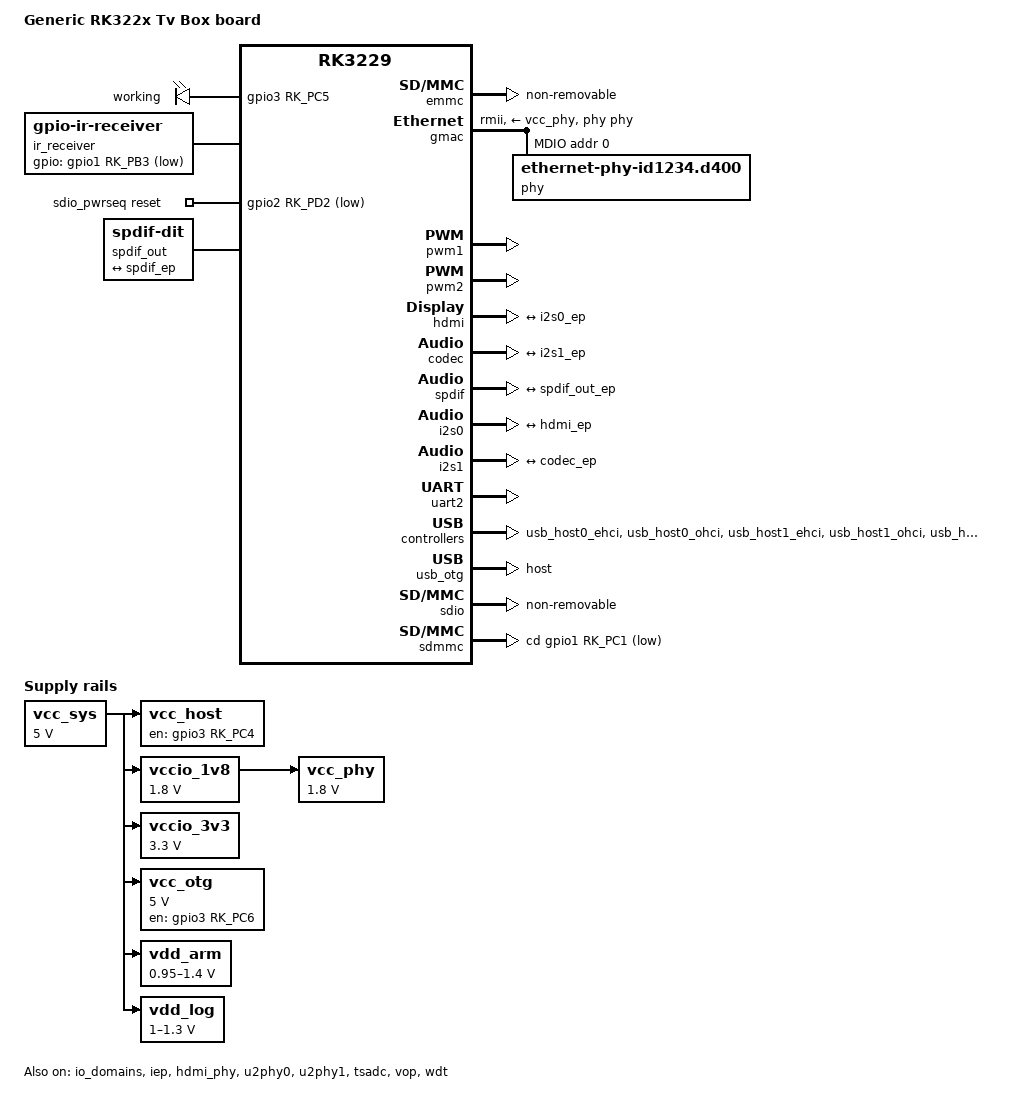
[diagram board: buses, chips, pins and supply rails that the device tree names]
// SPDX-License-Identifier: (GPL-2.0+ OR MIT)

/dts-v1/;

#include <dt-bindings/gpio/gpio.h>
#include <dt-bindings/pinctrl/rockchip.h>
#include <dt-bindings/pwm/pwm.h>
#include "rk322x.dtsi"

/ {

	model = "Generic RK322x Tv Box board";
	compatible = "rockchip,rk3229";

	/*
	 * No need to reserve memory manually as long as u-boot v2020.10 and
	 * OPTEE autoconfigure the reserved zones
	*/
	/delete-node/ reserved-memory;

	/*
	 * We rebuild the cpu-opp-table by ourselves
	 */
	/delete-node/ opp-table-0;

	/*
	 * Rebuild the thermal zones and cooling maps ourselves
	 */
	/delete-node/ thermal-zones;

	/*
	 * 	Include the mmc devices into aliases table
	 */
	aliases {
		mmc0 = &sdmmc;
		mmc1 = &sdio;
		mmc2 = &emmc;
	};

	chosen {
		bootargs = "earlyprintk=uart8250,mmio32,0x11030000";
	};

	cpu0_opp_table: opp-table-0 {
		compatible = "operating-points-v2";
		opp-shared;

		opp-600000000 {
			opp-hz = /bits/ 64 <600000000>;
			opp-microvolt = <975000>;
			clock-latency-ns = <40000>;
			opp-suspend;
		};

		opp-816000000 {
			opp-hz = /bits/ 64 <816000000>;
			opp-microvolt = <1000000>;
		};

		opp-1008000000 {
			opp-hz = /bits/ 64 <1008000000>;
			opp-microvolt = <1175000>;
		};

		opp-1200000000 {
			opp-hz = /bits/ 64 <1200000000>;
			opp-microvolt = <1275000>;
		};

	};

	gpio_leds: gpio-leds {

		compatible = "gpio-leds";

		/*
		* Working led, available on all boards
		*/
		working {
			gpios = <&gpio3 RK_PC5 GPIO_ACTIVE_HIGH>;
			label = "working";
			default-state = "on";
			linux,default-trigger = "timer";
			pinctrl-names = "default";
			pinctrl-0 = <&gpio_led_working>;
		};

	};

	gpio_keys: gpio-keys {

		compatible = "gpio-keys";

		#address-cells = <1>;
		#size-cells = <0>;

	};

	ir_receiver: ir-receiver {
		compatible = "gpio-ir-receiver";
		gpios = <&gpio1 RK_PB3 GPIO_ACTIVE_LOW>;
		pinctrl-0 = <&ir_int>;
		pinctrl-names = "default";
		status = "okay";
		linux,rc-map-name = "rc-rk322x-tvbox";
	};

	rockchip_ir_receiver: rockchip-ir-receiver {
		compatible = "rockchip-ir-receiver";
		reg = <0x110b0030 0x10>;
		gpios = <&gpio1 RK_PB3 GPIO_ACTIVE_LOW>;
		clocks = <&cru PCLK_PWM>;
		interrupts = <GIC_SPI 50 IRQ_TYPE_LEVEL_HIGH>;
		linux,rc-map-name = "rc-rk322x-tvbox";
		pinctrl-names = "default", "suspend";
		pinctrl-0 = <&ir_int>;
		pinctrl-1 = <&pwm3_pin>;
		pwm-id = <3>;
		shutdown-is-virtual-poweroff;
		wakeup-source;
		status = "disabled";
	};

	sdio_pwrseq: sdio-pwrseq {
		compatible = "mmc-pwrseq-simple";
		pinctrl-names = "default";
		pinctrl-0 = <&wifi_enable_h>;
		reset-gpios = <&gpio2 RK_PD2 GPIO_ACTIVE_LOW>;
	};

	vcc_sys: vcc-sys-regulator {
		compatible = "regulator-fixed";
		regulator-name = "vcc_sys";
		regulator-always-on;
		regulator-boot-on;
		regulator-min-microvolt = <5000000>;
		regulator-max-microvolt = <5000000>;
	};

	vcc_host: vcc-host-regulator {
		compatible = "regulator-fixed";
		enable-active-high;
		gpio = <&gpio3 RK_PC4 GPIO_ACTIVE_HIGH>;
		pinctrl-names = "default";
		pinctrl-0 = <&host_vbus_drv>;
		regulator-name = "vcc_host";
		regulator-always-on;
		regulator-boot-on;
		vin-supply = <&vcc_sys>;
	};

	vccio_1v8: vccio-1v8-regulator {
		compatible = "regulator-fixed";
		regulator-name = "vccio_1v8";
		regulator-min-microvolt = <1800000>;
		regulator-max-microvolt = <1800000>;
		regulator-always-on;
		vin-supply = <&vcc_sys>;
	};

	vccio_3v3: vccio-3v3-regulator {
		compatible = "regulator-fixed";
		regulator-name = "vccio_3v3";
		regulator-min-microvolt = <3300000>;
		regulator-max-microvolt = <3300000>;
		regulator-always-on;
		vin-supply = <&vcc_sys>;
	};

	vcc_otg: vcc-otg-regulator {
		compatible = "regulator-fixed";
		enable-active-high;
		gpio = <&gpio3 RK_PC6 GPIO_ACTIVE_HIGH>;
		pinctrl-names = "default";
		pinctrl-0 = <&otg_vbus_drv>;
		regulator-name = "vcc_otg_vbus";
		regulator-min-microvolt = <5000000>;
		regulator-max-microvolt = <5000000>;
		regulator-always-on;
		regulator-boot-on;
		vin-supply = <&vcc_sys>;
	};

	vcc_phy: vcc-phy-regulator {
		compatible = "regulator-fixed";
		enable-active-high;
		regulator-name = "vcc_phy";
		regulator-min-microvolt = <1800000>;
		regulator-max-microvolt = <1800000>;
		regulator-always-on;
		regulator-boot-on;
		vin-supply = <&vccio_1v8>;
	};

	vdd_arm: vdd-arm-regulator {
		compatible = "pwm-regulator";
		pwms = <&pwm1 0 5000 PWM_POLARITY_INVERTED>;
		pwm-supply = <&vcc_sys>;
		regulator-name = "vdd_arm";
		regulator-min-microvolt = <950000>;
		regulator-max-microvolt = <1400000>;
		regulator-always-on;
		regulator-boot-on;
	};

	vdd_log: vdd-log-regulator {
		compatible = "pwm-regulator";
		pwms = <&pwm2 0 5000 PWM_POLARITY_INVERTED>;
		pwm-supply = <&vcc_sys>;
		regulator-name = "vdd_log";
		regulator-min-microvolt = <1000000>;
		regulator-max-microvolt = <1300000>;
		regulator-always-on;
		regulator-boot-on;
	};

	thermal-zones {
		cpu_thermal: cpu-thermal {
			polling-delay-passive = <1000>; /* milliseconds */
			polling-delay = <5000>; /* milliseconds */

			thermal-sensors = <&tsadc 0>;

			trips {
				cpu_alert0: cpu_alert0 {
					temperature = <90000>; /* millicelsius */
					hysteresis = <2000>; /* millicelsius */
					type = "passive";
				};
				cpu_alert1: cpu_alert1 {
					temperature = <95000>; /* millicelsius */
					hysteresis = <2000>; /* millicelsius */
					type = "passive";
				};
				cpu_crit: cpu_crit {
					temperature = <105000>; /* millicelsius */
					hysteresis = <2000>; /* millicelsius */
					type = "critical";
				};
			};

			cooling-maps {

				cpu_throttle_low: map-cpu-throttle-low {
					trip = <&cpu_alert0>;
					cooling-device =
						<&cpu0 THERMAL_NO_LIMIT 1>,
						<&cpu1 THERMAL_NO_LIMIT 1>,
						<&cpu2 THERMAL_NO_LIMIT 1>,
						<&cpu3 THERMAL_NO_LIMIT 1>;
				};

				cpu_throttle_high: map-cpu-throttle-high {
					trip = <&cpu_alert1>;
					cooling-device =
						<&cpu0 THERMAL_NO_LIMIT THERMAL_NO_LIMIT>,
						<&cpu1 THERMAL_NO_LIMIT THERMAL_NO_LIMIT>,
						<&cpu2 THERMAL_NO_LIMIT THERMAL_NO_LIMIT>,
						<&cpu3 THERMAL_NO_LIMIT THERMAL_NO_LIMIT>;
				};

				gpu_throttle_low: map-gpu-throttle-low {
					trip = <&cpu_alert0>;
					cooling-device =
						<&gpu THERMAL_NO_LIMIT 1>;
				};

				gpu_throttle_high: map-gpu-throttle-high {
					trip = <&cpu_alert1>;
					cooling-device =
						<&gpu THERMAL_NO_LIMIT THERMAL_NO_LIMIT>;
				};

				dmc_throttle_low: map-dmc-throttle-low {
					trip = <&cpu_alert0>;
					cooling-device = <&dmc THERMAL_NO_LIMIT 1>;
				};

				dmc_throttle_high: map-dmc-throttle-high {
					trip = <&cpu_alert1>;
					cooling-device = <&dmc THERMAL_NO_LIMIT THERMAL_NO_LIMIT>;
				};

			};
		};
	};

	hdmi-sound {
		compatible = "audio-graph-card2";
		label = "HDMI";
		links = <&i2s0_port>;
	};

	analog-sound {
		compatible = "audio-graph-card2";
		label = "analog";
		links = <&i2s1_port>;
	};

	spdif-sound {
		compatible = "audio-graph-card2";
		label = "SPDIF";
		links = <&spdif_port>;
	};

	spdif_out: spdif-out {
		status = "okay";
		compatible = "linux,spdif-dit";
		#sound-dai-cells = <0>;
		spdif_out_port: port {
			spdif_out_ep: endpoint {
				remote-endpoint = <&spdif_ep>;
			};
		};
	};

};

&cpu0 {
	cpu-supply = <&vdd_arm>;
};

&cpu1 {
	cpu-supply = <&vdd_arm>;
};

&cpu2 {
	cpu-supply = <&vdd_arm>;
};

&cpu3 {
	cpu-supply = <&vdd_arm>;
};

&cru {
	assigned-clocks = <&cru PLL_GPLL>, <&cru ARMCLK>,
			  <&cru PLL_CPLL>, <&cru ACLK_PERI>,
			  <&cru HCLK_PERI>, <&cru PCLK_PERI>,
			  <&cru ACLK_CPU>, <&cru HCLK_CPU>,
			  <&cru PCLK_CPU>, <&cru ACLK_VOP>;

	assigned-clock-rates = <1200000000>, <816000000>,
				<500000000>, <150000000>,
				<150000000>, <75000000>,
				<150000000>, <150000000>,
				<75000000>, <400000000>;
};

&dmc {
	logic-supply = <&vdd_log>;
};

&emmc {
	cap-mmc-highspeed;
	keep-power-in-suspend;
	non-removable;
	status = "okay";
	/delete-property/ mmc-ddr-1_8v;
	/delete-property/ pinctrl-names;
	/delete-property/ pinctrl-0;
	/delete-property/ rockchip,default-sample-phase;
	rockchip,default-sample-phase = <90>;
};

&gmac {
	assigned-clocks = <&cru SCLK_MAC_SRC>;
	assigned-clock-rates = <50000000>;
	clock_in_out = "output";
	phy-handle = <&phy>;
	phy-mode = "rmii";
	phy-supply = <&vcc_phy>;
	tx_delay = <0x26>;
	rx_delay = <0x11>;
	status = "okay";

	mdio {
		compatible = "snps,dwmac-mdio";
		#address-cells = <1>;
		#size-cells = <0>;

		phy: phy@0 {
			compatible = "ethernet-phy-id1234.d400",
			             "ethernet-phy-ieee802.3-c22";
			reg = <0>;
			clocks = <&cru SCLK_MAC_PHY>;
			phy-is-integrated;
			resets = <&cru SRST_MACPHY>;
		};
	};
};

&gpu {
	assigned-clocks = <&cru ACLK_GPU>;
	assigned-clock-rates = <300000000>;
	mali-supply = <&vdd_log>;
};

&gpu_opp_table {
	opp-400000000 {
		opp-hz = /bits/ 64 <400000000>;
		opp-microvolt = <1100000 1000000 1200000>;
	};
};

&io_domains {
	vccio1-supply = <&vccio_3v3>;
	vccio2-supply = <&vccio_1v8>;
	vccio4-supply = <&vccio_3v3>;
	status = "okay";
};

&nfc {

	status = "disabled";

	#address-cells = <1>;
	#size-cells = <0>;

	/delete-property/ pinctrl-names;
	/delete-property/ pinctrl-0;

	nand@0 {
		reg = <0>;
		label = "rk-nand";
		nand-bus-width = <8>;
		nand-ecc-mode = "hw";
		nand-ecc-step-size = <1024>;
		nand-ecc-strength = <60>;
		nand-is-boot-medium;
		rockchip,boot-blks = <8>;
		rockchip,boot-ecc-strength = <60>;
	};

};

&iep {
	status = "okay";
};

&iep_mmu {
	status = "okay";
};

&pwm1 {
	status = "okay";
};

&pwm2 {
	status = "okay";
};

&hdmi {
	status = "okay";
	hdmi_port: port@2 {
		reg = <2>;
		hdmi_ep: endpoint {
			remote-endpoint = <&i2s0_ep>;
		};
	};
};

&hdmi_phy {
	status = "okay";
};

&codec {
	#sound-dai-cells = <0>;
	status = "okay";
	codec_port: port {
		codec_ep: endpoint {
			remote-endpoint = <&i2s1_ep>;
		};
	};
};

&spdif {
	status = "okay";
	spdif_port: port {
		spdif_ep: endpoint {
			remote-endpoint = <&spdif_out_ep>;
		};
	};
};

&i2s0 {
	status = "okay";
	i2s0_port: port {
		i2s0_ep: endpoint {
			system-clock-direction-out;
			frame-master;
			bitclock-master;
			mclk-fs = <256>;
			dai-format = "i2s";
			remote-endpoint = <&hdmi_ep>;
		};
	};
};

&i2s1 {
	#sound-dai-cells = <0>;
	status = "okay";
	i2s1_port: port {
		i2s1_ep: endpoint {
			system-clock-direction-out;
			frame-master;
			bitclock-master;
			mclk-fs = <256>;
			dai-format = "i2s";
			remote-endpoint = <&codec_ep>;
		};
	};
};

/** Integration to pin controller */
&pinctrl {

	pcfg_pull_up_12ma: pcfg-pull-up-12ma {
		drive-strength = <12>;
		bias-pull-up;
	};

	pcfg_pull_down_12ma: pcfg-pull-down-12ma {
		drive-strength = <12>;
		bias-pull-down;
	};

	pcfg_pull_none_12ma: pcfg-pull-none-12ma {
		drive-strength = <12>;
		bias-disable;
	};

	pcfg_pull_up_8ma: pcfg-pull-up-8ma {
		drive-strength = <8>;
		bias-pull-up;
	};

	pcfg_pull_down_8ma: pcfg-pull-down-8ma {
		drive-strength = <8>;
		bias-pull-down;
	};

	pcfg_pull_none_8ma: pcfg-pull-none-8ma {
		drive-strength = <8>;
		bias-disable;
	};

	pcfg_pull_up_2ma: pcfg-pull-up-2ma {
		drive-strength = <2>;
		bias-pull-up;
	};

	pcfg_pull_down_2ma: pcfg-pull-down-2ma {
		drive-strength = <2>;
		bias-pull-down;
	};

	pcfg_pull_none_2ma: pcfg-pull-none-2ma {
		drive-strength = <2>;
		bias-disable;
	};

	/*
	* Some rk322x electrical schemes report this kind of pull-up/down
	* pin configurations. We set them here, but we don't use it in this
	* device tree. These instead are useful for overlays, because they seem
	* to increase stability on at least one board I got here
	*/
	sdmmc {
		sdmmc_clk: sdmmc-clk {
			rockchip,pins = <1 16 1 &pcfg_pull_down>;
		};

		sdmmc_cmd: sdmmc-cmd {
			rockchip,pins = <1 15 1 &pcfg_pull_up>;
		};

		sdmmc_bus4: sdmmc-bus4 {
			rockchip,pins = <1 18 1 &pcfg_pull_up>,
					<1 19 1 &pcfg_pull_up>,
					<1 20 1 &pcfg_pull_up>,
					<1 21 1 &pcfg_pull_up>;
		};
	};

	/*
	* Same as above, decreasing strength of SDIO pins seems to be benefical
	* to stability
	*/
	sdio {
		sdio_clk: sdio-clk {
			rockchip,pins = <3 0 1 &pcfg_pull_down_2ma>;
		};

		sdio_cmd: sdio-cmd {
			rockchip,pins = <3 1 1 &pcfg_pull_up_2ma>;
		};

		sdio_bus4: sdio-bus4 {
			rockchip,pins = <3 2 1 &pcfg_pull_up_2ma>,
					<3 3 1 &pcfg_pull_up_2ma>,
					<3 4 1 &pcfg_pull_up_2ma>,
					<3 5 1 &pcfg_pull_up_2ma>;
		};
	};

	/*
	* Same drill as above, electrical schemes also report this pull-up/down
	* configurations.
	*/
	emmc {
		emmc_clk: emmc-clk {
			rockchip,pins = <2 7 2 &pcfg_pull_up>;
		};

		emmc_cmd: emmc-cmd {
			rockchip,pins = <1 22 2 &pcfg_pull_up>;
		};

		emmc_bus8: emmc-bus8 {
			rockchip,pins = <1 24 2 &pcfg_pull_up>,
					<1 25 2 &pcfg_pull_up>,
					<1 26 2 &pcfg_pull_up>,
					<1 27 2 &pcfg_pull_up>,
					<1 28 2 &pcfg_pull_up>,
					<1 29 2 &pcfg_pull_up>,
					<1 30 2 &pcfg_pull_up>,
					<1 31 2 &pcfg_pull_up>;
		};

		emmc_pwr: emmc-pwr {
			rockchip,pins = <2 RK_PA5 2 &pcfg_pull_down>;
		};

		emmc_rst: emmc-rst {
			rockchip,pins = <1 RK_PC7 2 &pcfg_pull_up>;
		};

	};

	gpio-items {
		gpio_led_working: gpio-led-working {
			rockchip,pins =  <3 RK_PC5 RK_FUNC_GPIO &pcfg_pull_none>;
		};
	};

	ir {
		ir_int: ir-int {
			rockchip,pins = <1 RK_PB3 RK_FUNC_GPIO &pcfg_pull_none>;
		};
	};

	pwm1 {
		pwm1_pin_pull_down: pwm1-pin-pull-down {
			rockchip,pins = <0 RK_PD6 2 &pcfg_pull_down>;
		};
	};

	pwm2 {
		pwm2_pin_pull_up: pwm2-pin-pull-up {
			rockchip,pins = <1 RK_PB4 2 &pcfg_pull_up>;
		};
	};

	usb {
		host_vbus_drv: host-vbus-drv {
			rockchip,pins = <3 RK_PC4 RK_FUNC_GPIO &pcfg_pull_none>;
		};

		otg_vbus_drv: otg-vbus-drv {
			rockchip,pins = <3 RK_PC6 RK_FUNC_GPIO &pcfg_pull_none>;
		};
	};

	sdio-pwrseq {
		wifi_enable_h: wifi-enable-h {
			rockchip,pins = <2 RK_PD2 RK_FUNC_GPIO &pcfg_pull_none>;
		};
	};

};

&uart1 {
	pinctrl-names = "default";
	pinctrl-0 = <&uart11_xfer &uart11_rts &uart11_cts>;
};

&uart2 {
	status = "okay";
};

&u2phy0 {
	status = "okay";
	u2phy0_host: host-port {
		phy-supply = <&vcc_host>;
	};

	u2phy0_otg: otg-port {
		phy-supply = <&vcc_otg>;
	};
};

&u2phy0_otg {
	status = "okay";
};

&u2phy0_host {
	status = "okay";
};

&u2phy1 {
	status = "okay";
	u2phy1_host: host-port {
		phy-supply = <&vcc_host>;
	};

	u2phy1_otg: otg-port {
		phy-supply = <&vcc_otg>;
	};
};

&u2phy1_otg {
	status = "okay";
};

&u2phy1_host {
	status = "okay";
};

&usb_host0_ehci {
	status = "okay";
};

&usb_host0_ohci {
	status = "okay";
};

&usb_host1_ehci {
	status = "okay";
};

&usb_host1_ohci {
	status = "okay";
};

&usb_host2_ehci {
	status = "okay";
};

&usb_host2_ohci {
	status = "okay";
};

&usb_otg {
	dr_mode = "host";
	status = "okay";
};

&sdio {
	mmc-pwrseq = <&sdio_pwrseq>;
	cap-sd-highspeed;
	cap-sdio-irq;
	keep-power-in-suspend;
	non-removable;
	no-sd;
	status = "okay";
};

&sdmmc {
	cd-gpios = <&gpio1 RK_PC1 GPIO_ACTIVE_LOW>;
	cd-debounce-delay-ms = <500>;
	cap-sd-highspeed;
	keep-power-in-suspend;
	no-sdio;
	status = "okay";
};

&tsadc {
	rockchip,grf = <&grf>;
	rockchip,hw-tshut-mode = <0>;
	rockchip,hw-tshut-polarity = <1>;
	rockchip,hw-tshut-temp = <110000>;

	/* delete the pinctrl-* properties because, on mainline kernel, they (in particular "default")
	   change the GPIO configuration of the associated PIN. On most boards that pin is not connected
	   so it does not do anything, but some other boards (X96-Mini) have that pin connected to
	   a reset pin of the soc or whatever, thus changing the configuration of the pin at boot
	   causes them to bootloop.
	   We don't really need these ones though, because since hw-tshut-mode is set to 0, the CRU
	   unit of the SoC does the reboot*/
	/delete-property/ pinctrl-names;
	/delete-property/ pinctrl-0;
	/delete-property/ pinctrl-1;
	/delete-property/ pinctrl-2;

	status = "okay";
};

&vop {
	assigned-clocks = <&cru DCLK_VOP>;
	assigned-clock-parents = <&cru SCLK_HDMI_PHY>;
	status = "okay";
};

&vop_mmu {
	status = "okay";
};

&wdt {
	status = "okay";
};
